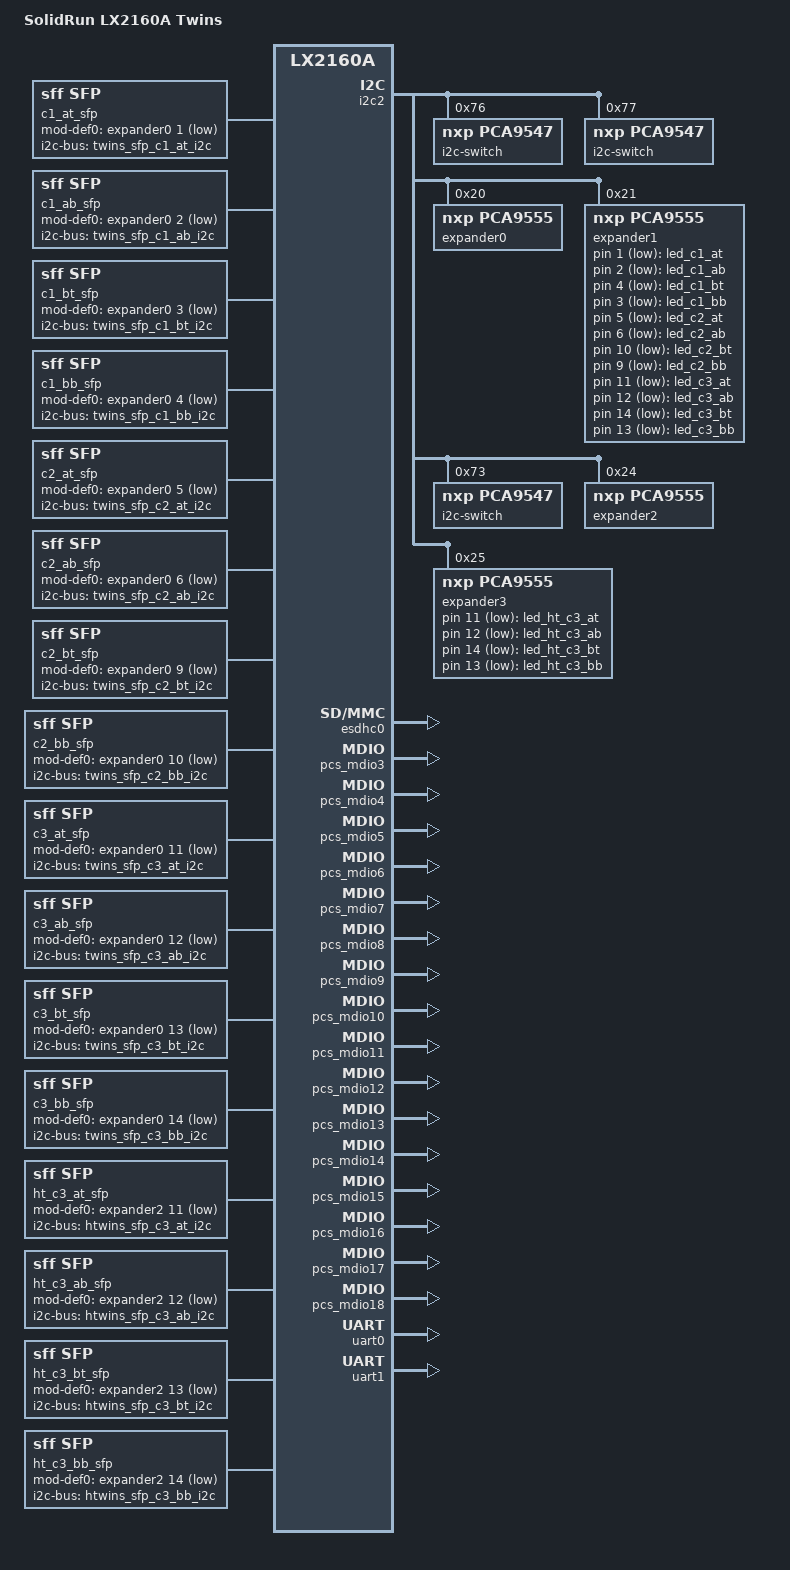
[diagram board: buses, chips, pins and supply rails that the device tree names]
// SPDX-License-Identifier: (GPL-2.0 OR MIT)
//
// Device Tree file for LX2160A based half twins
//
// Copyright 2022 SolidRun Ltd.

/dts-v1/;

#include "fsl-lx2160a-cex7.dtsi"
#include <dt-bindings/input/linux-event-codes.h>

/ {
	model = "SolidRun LX2160A Twins";
	compatible = "solidrun,clearfog-twins",
		"solidrun,lx2160a-cex7", "fsl,lx2160a";

	aliases {
		serial0 = &uart0;
		serial1 = &uart1;
	};

	chosen {
		stdout-path = "serial0:115200n8";
	};
};

/* disable power-off */
&psci {
	no-poweroff;
};

/* raise thermal trip points to absolute maximum */
&cluster6_7_alert {
	temperature = <100000>;
};

&cluster6_7_crit {
	temperature = <105000>;
};

&ddr_cluster5_alert {
	temperature = <100000>;
};

&ddr_cluster5_crit {
	temperature = <105000>;
};

&wriop_alert {
	temperature = <100000>;
};

&wriop_crit {
	temperature = <105000>;
};

&dce_qbman_alert {
	temperature = <100000>;
};

&dce_qbman_crit {
	temperature = <105000>;
};

&ccn_dpaa_alert {
	temperature = <100000>;
};

&ccn_dpaa_crit {
	temperature = <105000>;
};

&clust4_hsio3_alert {
	temperature = <100000>;
};

&clust4_hsio3_crit {
	temperature = <105000>;
};

&cluster2_3_alert {
	temperature = <100000>;
};

&cluster2_3_crit {
	temperature = <105000>;
};

&i2c2 {
	i2c-switch@76 {
		compatible = "nxp,pca9547";
		#address-cells = <1>;
		#size-cells = <0>;
		reg = <0x76>;
		i2c-mux-idle-disconnect;
		twins_sfp_c1_at_i2c: i2c@1 {
			#address-cells = <1>;
			#size-cells = <0>;
			reg = <1>;
		};
		twins_sfp_c1_ab_i2c: i2c@2 {
			#address-cells = <1>;
			#size-cells = <0>;
			reg = <2>;
		};
		twins_sfp_c1_bt_i2c: i2c@3 {
			#address-cells = <1>;
			#size-cells = <0>;
			reg = <3>;
		};
		twins_sfp_c1_bb_i2c: i2c@4 {
			#address-cells = <1>;
			#size-cells = <0>;
			reg = <4>;
		};
		twins_sfp_c2_at_i2c: i2c@5 {
			#address-cells = <1>;
			#size-cells = <0>;
			reg = <5>;
		};
		twins_sfp_c2_ab_i2c: i2c@6 {
			#address-cells = <1>;
			#size-cells = <0>;
			reg = <6>;
		};
	};
	i2c-switch@77 {
		compatible = "nxp,pca9547";
		#address-cells = <1>;
		#size-cells = <0>;
		reg = <0x77>;
		i2c-mux-idle-disconnect;
		twins_sfp_c2_bt_i2c: i2c@1 {
			#address-cells = <1>;
			#size-cells = <0>;
			reg = <1>;
		};
		twins_sfp_c2_bb_i2c: i2c@2 {
			#address-cells = <1>;
			#size-cells = <0>;
			reg = <2>;
		};
		twins_sfp_c3_at_i2c: i2c@3 {
			#address-cells = <1>;
			#size-cells = <0>;
			reg = <3>;
		};
		twins_sfp_c3_ab_i2c: i2c@4 {
			#address-cells = <1>;
			#size-cells = <0>;
			reg = <4>;
		};
		twins_sfp_c3_bt_i2c: i2c@5 {
			#address-cells = <1>;
			#size-cells = <0>;
			reg = <5>;
		};
		twins_sfp_c3_bb_i2c: i2c@6 {
			#address-cells = <1>;
			#size-cells = <0>;
			reg = <6>;
		};
	};
	expander0: gpio-expander@20 {
		compatible = "nxp,pca9555";
		gpio-controller;
		#gpio-cells = <2>;
		reg = <0x20>;
	};
	expander1: gpio-expander@21 {
		compatible = "nxp,pca9555";
		gpio-controller;
		#gpio-cells = <2>;
		reg = <0x21>;
	};

	/* Half twins configuration; take over c3 from the other twin side */
	i2c-switch@73 {
		compatible = "nxp,pca9547";
		#address-cells = <1>;
		#size-cells = <0>;
		reg = <0x73>;
		i2c-mux-idle-disconnect;
		htwins_sfp_c3_at_i2c: i2c@3 {
			#address-cells = <1>;
			#size-cells = <0>;
			reg = <3>;
		};
		htwins_sfp_c3_ab_i2c: i2c@4 {
			#address-cells = <1>;
			#size-cells = <0>;
			reg = <4>;
		};
		htwins_sfp_c3_bt_i2c: i2c@5 {
			#address-cells = <1>;
			#size-cells = <0>;
			reg = <5>;
		};
		htwins_sfp_c3_bb_i2c: i2c@6 {
			#address-cells = <1>;
			#size-cells = <0>;
			reg = <6>;
		};
	};
	expander2: gpio-expander@24 {
		compatible = "nxp,pca9555";
		gpio-controller;
		#gpio-cells = <2>;
		reg = <0x24>;
	};
	expander3: gpio-expander@25 {
		compatible = "nxp,pca9555";
		gpio-controller;
		#gpio-cells = <2>;
		reg = <0x25>;
	};
};

/ {
	c1_at_sfp: c1-at-sfp {
		compatible = "sff,sfp";
		i2c-bus = <&twins_sfp_c1_at_i2c>;
		mod-def0-gpio = <&expander0 1 GPIO_ACTIVE_LOW>;
		maximum-power-milliwatt = <2000>;
	};
	c1_ab_sfp: c1-ab-sfp {
		compatible = "sff,sfp";
		i2c-bus = <&twins_sfp_c1_ab_i2c>;
		mod-def0-gpio = <&expander0 2 GPIO_ACTIVE_LOW>;
		maximum-power-milliwatt = <2000>;
	};
	c1_bt_sfp: c1-bt-sfp {
		compatible = "sff,sfp";
		i2c-bus = <&twins_sfp_c1_bt_i2c>;
		mod-def0-gpio = <&expander0 3 GPIO_ACTIVE_LOW>;
		maximum-power-milliwatt = <2000>;
	};
	c1_bb_sfp: c1-bb-sfp {
		compatible = "sff,sfp";
		i2c-bus = <&twins_sfp_c1_bb_i2c>;
		mod-def0-gpio = <&expander0 4 GPIO_ACTIVE_LOW>;
		maximum-power-milliwatt = <2000>;
	};
	c2_at_sfp: c2-at-sfp {
		compatible = "sff,sfp";
		i2c-bus = <&twins_sfp_c2_at_i2c>;
		mod-def0-gpio = <&expander0 5 GPIO_ACTIVE_LOW>;
		maximum-power-milliwatt = <2000>;
	};
	c2_ab_sfp: c2-ab-sfp {
		compatible = "sff,sfp";
		i2c-bus = <&twins_sfp_c2_ab_i2c>;
		mod-def0-gpio = <&expander0 6 GPIO_ACTIVE_LOW>;
		maximum-power-milliwatt = <2000>;
	};
	c2_bt_sfp: c2-bt-sfp {
		compatible = "sff,sfp";
		i2c-bus = <&twins_sfp_c2_bt_i2c>;
		mod-def0-gpio = <&expander0 9 GPIO_ACTIVE_LOW>;
		maximum-power-milliwatt = <2000>;
	};
	c2_bb_sfp: c2-bb-sfp {
		compatible = "sff,sfp";
		i2c-bus = <&twins_sfp_c2_bb_i2c>;
		mod-def0-gpio = <&expander0 10 GPIO_ACTIVE_LOW>;
		maximum-power-milliwatt = <2000>;
	};
	c3_at_sfp: c3-at-sfp {
		compatible = "sff,sfp";
		i2c-bus = <&twins_sfp_c3_at_i2c>;
		mod-def0-gpio = <&expander0 11 GPIO_ACTIVE_LOW>;
		maximum-power-milliwatt = <2000>;
	};
	c3_ab_sfp: c3-ab-sfp {
		compatible = "sff,sfp";
		i2c-bus = <&twins_sfp_c3_ab_i2c>;
		mod-def0-gpio = <&expander0 12 GPIO_ACTIVE_LOW>;
		maximum-power-milliwatt = <2000>;
	};
	c3_bt_sfp: c3-bt-sfp {
		compatible = "sff,sfp";
		i2c-bus = <&twins_sfp_c3_bt_i2c>;
		mod-def0-gpio = <&expander0 13 GPIO_ACTIVE_LOW>;
		maximum-power-milliwatt = <2000>;
	};
	c3_bb_sfp: c3-bb-sfp {
		compatible = "sff,sfp";
		i2c-bus = <&twins_sfp_c3_bb_i2c>;
		mod-def0-gpio = <&expander0 14 GPIO_ACTIVE_LOW>;
		maximum-power-milliwatt = <2000>;
	};
	ht_c3_at_sfp: ht-c3-at-sfp {
		compatible = "sff,sfp";
		i2c-bus = <&htwins_sfp_c3_at_i2c>;
		mod-def0-gpio = <&expander2 11 GPIO_ACTIVE_LOW>;
		maximum-power-milliwatt = <2000>;
	};
	ht_c3_ab_sfp: ht-c3-ab-sfp {
		compatible = "sff,sfp";
		i2c-bus = <&htwins_sfp_c3_ab_i2c>;
		mod-def0-gpio = <&expander2 12 GPIO_ACTIVE_LOW>;
		maximum-power-milliwatt = <2000>;
	};
	ht_c3_bt_sfp: ht-c3-bt-sfp {
		compatible = "sff,sfp";
		i2c-bus = <&htwins_sfp_c3_bt_i2c>;
		mod-def0-gpio = <&expander2 13 GPIO_ACTIVE_LOW>;
		maximum-power-milliwatt = <2000>;
	};
	ht_c3_bb_sfp: ht-c3-bb-sfp {
		compatible = "sff,sfp";
		i2c-bus = <&htwins_sfp_c3_bb_i2c>;
		mod-def0-gpio = <&expander2 14 GPIO_ACTIVE_LOW>;
		maximum-power-milliwatt = <2000>;
	};
	leds {
		compatible = "gpio-leds";
		led_c1_at: led-c1-at {
			gpios = <&expander1 1 GPIO_ACTIVE_LOW>;
			default-state = "off";
		};
		led_c1_ab: led-c1-ab {
			gpios = <&expander1 2 GPIO_ACTIVE_LOW>;
			default-state = "off";
		};
		led_c1_bt: led-c1-bt {
			gpios = <&expander1 4 GPIO_ACTIVE_LOW>;
			default-state = "off";
		};
		led_c1_bb: led-c1-bb {
			gpios = <&expander1 3 GPIO_ACTIVE_LOW>;
			default-state = "off";
		};
		led_c2_at: led-c2-at {
			gpios = <&expander1 5 GPIO_ACTIVE_LOW>;
			default-state = "off";
		};
		led_c2_ab: led-c2-ab {
			gpios = <&expander1 6 GPIO_ACTIVE_LOW>;
			default-state = "off";
		};
		led_c2_bt: led-c2-bt {
			gpios = <&expander1 10 GPIO_ACTIVE_LOW>;
			default-state = "off";
		};
		led_c2_bb: led-c2-bb {
			gpios = <&expander1 9 GPIO_ACTIVE_LOW>;
			default-state = "off";
		};
		led_c3_at: led-c3-at {
			gpios = <&expander1 11 GPIO_ACTIVE_LOW>;
			default-state = "off";
		};
		led_c3_ab: led-c3-ab {
			gpios = <&expander1 12 GPIO_ACTIVE_LOW>;
			default-state = "off";
		};
		led_c3_bt: led-c3-bt {
			gpios = <&expander1 14 GPIO_ACTIVE_LOW>;
			default-state = "off";
		};
		led_c3_bb: led-c3-bb {
			gpios = <&expander1 13 GPIO_ACTIVE_LOW>;
			default-state = "off";
		};
		led_ht_c3_at: led-ht-c3-at {
			gpios = <&expander3 11 GPIO_ACTIVE_LOW>;
			default-state = "off";
		};
		led_ht_c3_ab: led-ht-c3-ab {
			gpios = <&expander3 12 GPIO_ACTIVE_LOW>;
			default-state = "off";
		};
		led_ht_c3_bt: led-ht-c3-bt {
			gpios = <&expander3 14 GPIO_ACTIVE_LOW>;
			default-state = "off";
		};
		led_ht_c3_bb: led-ht-c3-bb {
			gpios = <&expander3 13 GPIO_ACTIVE_LOW>;
			default-state = "off";
		};
	};
};

/* SD1 lanes #0.. #7 */
&dpmac3 {
	sfp = <&c1_at_sfp>;
	managed = "in-band-status";
	phys = <&serdes_1 7>;
	link-status-led = <&led_c1_at>;
};
&dpmac4 {
	sfp = <&c1_bt_sfp>;
	managed = "in-band-status";
	phys = <&serdes_1 6>;
	link-status-led = <&led_c1_bt>;
};
&dpmac5 {
	sfp = <&ht_c3_bt_sfp>;
	managed = "in-band-status";
	phys = <&serdes_1 5>;
	link-status-led = <&led_ht_c3_bt>;
};
&dpmac6 {
	sfp = <&ht_c3_at_sfp>;
	managed = "in-band-status";
	phys = <&serdes_1 4>;
	link-status-led = <&led_ht_c3_at>;
};
&dpmac7 {
	sfp = <&c2_at_sfp>;
	managed = "in-band-status";
	phys = <&serdes_1 3>;
	link-status-led = <&led_c2_at>;
};
&dpmac8 {
	sfp = <&c2_bt_sfp>;
	managed = "in-band-status";
	phys = <&serdes_1 2>;
	link-status-led = <&led_c2_bt>;
};
&dpmac9 {
	sfp = <&c3_at_sfp>;
	managed = "in-band-status";
	phys = <&serdes_1 1>;
	link-status-led = <&led_c3_at>;
};
&dpmac10 {
	sfp = <&c3_bt_sfp>;
	managed = "in-band-status";
	phys = <&serdes_1 0>;
	link-status-led = <&led_c3_bt>;
};
/* SD2 lanes #0.. #7 */
&dpmac11 {
	sfp = <&ht_c3_ab_sfp>;
	managed = "in-band-status";
	phys = <&serdes_2 0>;
	link-status-led = <&led_ht_c3_ab>;
};

&dpmac12 {
	sfp = <&c1_ab_sfp>;
	managed = "in-band-status";
	phys = <&serdes_2 1>;
	link-status-led = <&led_c1_ab>;
};
&dpmac13 { // ok
	sfp = <&c3_ab_sfp>;
	managed = "in-band-status";
	phy-mode = "sgmii";
	phys = <&serdes_2 6>;
	link-status-led = <&led_c3_ab>;
};
&dpmac14 { // ok
	sfp = <&c3_bb_sfp>;
	managed = "in-band-status";
	phy-mode = "sgmii";
	phys = <&serdes_2 7>;
	link-status-led = <&led_c3_bb>;
};
&dpmac15 {
	sfp = <&ht_c3_bb_sfp>;
	managed = "in-band-status";
	phys = <&serdes_2 4>;
	link-status-led = <&led_ht_c3_bb>;
};
&dpmac16 {
	sfp = <&c2_bb_sfp>;
	managed = "in-band-status";
	phys = <&serdes_2 5>;
	link-status-led = <&led_c2_bb>;
};
&dpmac17 {
	/delete-property/ phy-handle;
	/delete-property/ phy-connection-type;
	sfp = <&c1_bb_sfp>;
	managed = "in-band-status";
	phys = <&serdes_2 2>;
	link-status-led = <&led_c1_bb>;
};
&dpmac18 {
	sfp = <&c2_ab_sfp>;
	managed = "in-band-status";
	phys = <&serdes_2 3>;
	link-status-led = <&led_c2_ab>;
};

&emdio1 {
	status = "disabled";
};

&emdio2 {
	status = "disabled";
};
&esdhc0 {
	no-1-v-8;
	status = "okay";
};
&pcs_mdio3 {
	status = "okay";
};
&pcs_mdio4 {
	status = "okay";
};
&pcs_mdio5 {
	status = "okay";
};
&pcs_mdio6 {
	status = "okay";
};
&pcs_mdio7 {
	status = "okay";
};
&pcs_mdio8 {
	status = "okay";
};
&pcs_mdio9 {
	status = "okay";
};
&pcs_mdio10 {
	status = "okay";
};
&pcs_mdio11 {
	status = "okay";
};
&pcs_mdio12 {
	status = "okay";
};
&pcs_mdio13 {
	status = "okay";
};
&pcs_mdio14 {
	status = "okay";
};
&pcs_mdio15 {
	status = "okay";
};
&pcs_mdio16 {
	status = "okay";
};
&pcs_mdio17 {
	status = "okay";
};
&pcs_mdio18 {
	status = "okay";
};

&uart0 {
	status = "okay";
};
&uart1 {
	status = "okay";
};
